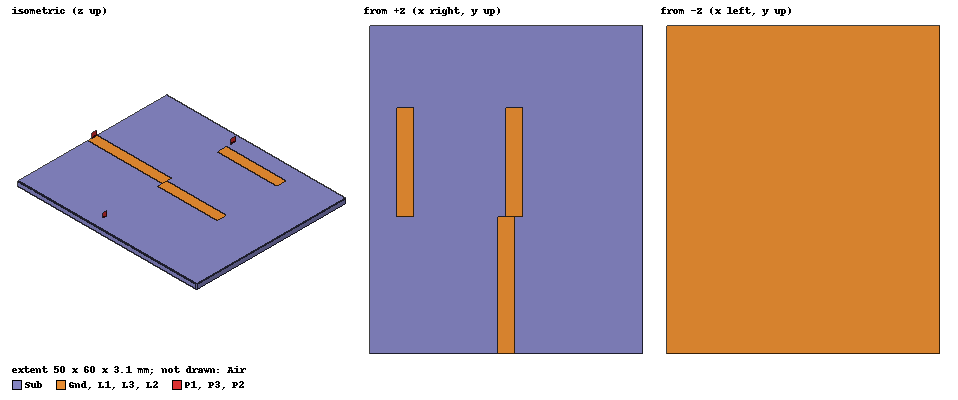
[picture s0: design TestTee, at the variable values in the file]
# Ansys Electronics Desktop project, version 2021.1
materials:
  vacuum: permittivity=1
  FR4_epoxy: permittivity=4.4 dielectric_loss_tangent=0.02

design TestTee (HFSS, DrivenModal, model units mm)
options: Save_Adaptive_support_files
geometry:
  Sub [FR4_epoxy] = box(corner=(0mm, 0mm, -1.6mm), size=(50mm, 60mm, 1.6mm))
  Gnd = rectangle(corner=(0mm, 0mm, -1.6mm), x_size=50mm, y_size=60mm)
  L1 = rectangle(corner=(23.45mm, 0mm, 0mm), x_size=3.1mm, y_size=25mm)
  L2 = rectangle(corner=(25mm, 25mm, 0mm), x_size=3.1mm, y_size=20mm)
  L3 = rectangle(corner=(5mm, 25mm, 0mm), x_size=3.1mm, y_size=20mm)
  P1 = rectangle(corner=(23.45mm, 0mm, -1.6mm), z_size=3.1mm, x_size=1.6mm)
  P2 = rectangle(corner=(45mm, 25mm, -1.6mm), z_size=3.1mm, x_size=1.6mm)
  P3 = rectangle(corner=(1.9mm, 25mm, -1.6mm), z_size=3.1mm, x_size=1.6mm)
  Air [vacuum] = box(corner=(-15mm, -15mm, -16.6mm), size=(80mm, 90mm, 31.6mm))
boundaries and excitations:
  PE1: Perfect E Objects=Gnd
  PE2: Perfect E Objects=L1
  PE3: Perfect E Objects=L2
  PE4: Perfect E Objects=L3
  Rad: Radiation Objects=Air
  1: Lumped Port Objects=P1 Modes{Mode1{IntLine{P1.edge(z at corner) at 0.0313 along -> middle of L1.edge(y at corner)} CharImp=Zpi RenormImp=50ohm}} Impedance=50ohm
  2: Lumped Port Objects=P2 Modes{Mode1{IntLine{P2.edge(z at corner) at 0.0313 along -> (46.55mm, 25mm, 0mm)} CharImp=Zpi RenormImp=50ohm}} Impedance=50ohm
  3: Lumped Port Objects=P3 Modes{Mode1{IntLine{P3.edge(z at corner) at 0.0312 along -> (3.45mm, 25mm, 0mm)} CharImp=Zpi RenormImp=50ohm}} Impedance=50ohm
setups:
  Setup1: HfssDriven Frequency=2.44GHz MaxDeltaS=0.02 MaximumPasses=15 MinimumPasses=1 MinimumConvergedPasses=1 PercentRefinement=30 BasisOrder=1 PortAccuracy=2
    sweep Sweep: 1.5GHz to 3.5GHz, 201 points; Type=Interpolating InterpTolerance=0.5 InterpMaxSolns=250 InterpUsePortImped=false PassivityErrorTolerance=0.0001
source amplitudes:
  1:1: 1W 0deg
  2:1, 3:1: 0W 0deg
